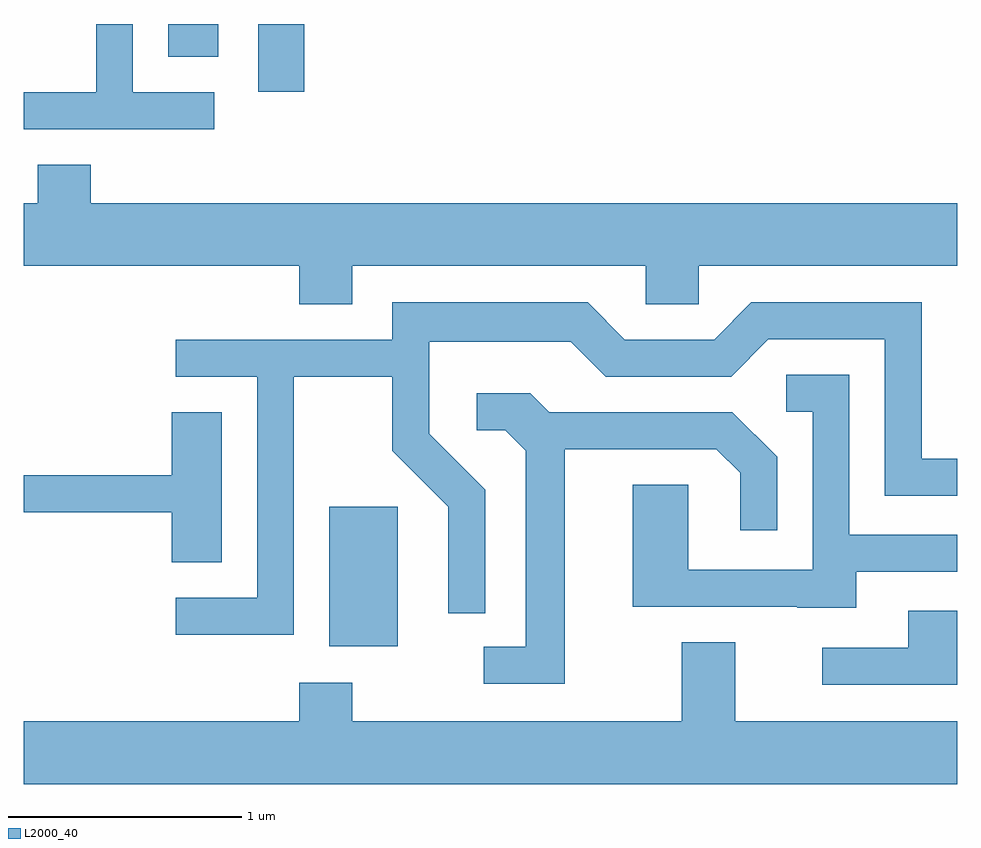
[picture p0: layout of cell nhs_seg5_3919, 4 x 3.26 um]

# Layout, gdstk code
import gdstk
lib = gdstk.Library(unit=1e-6, precision=1e-09)
def R(c, l, rs):  # rectangles x0, y0, x1, y1
    for r in rs: c.add(gdstk.rectangle(r[:2], r[2:], *l))
def P(c, l, *ps):  # polygons
    for p in ps: c.add(gdstk.Polygon(p, *l))
L2000_40 = (2000, 40)

nhs_seg5_3919 = lib.new_cell('nhs_seg5_3919')
R(nhs_seg5_3919, L2000_40, [(302.921,1437.406,303.214,1438.004), (302.616,1439.781,302.814,1440.072), (302.231,1439.931,302.444,1440.072)])
P(nhs_seg5_3919, L2000_40, [(302.428,1439.779),(302.079,1439.779),(302.079,1440.072),(301.921,1440.072),(301.921,1439.779),(301.611,1439.779),(301.611,1439.621),(302.428,1439.621)],
  [(303.019,1439.036),(304.276,1439.036),(304.276,1438.871),(304.504,1438.871),(304.504,1439.036),(305.611,1439.036),(305.611,1439.304),(301.899,1439.304),(301.899,1439.469),(301.671,1439.469),(301.671,1439.304),(301.611,1439.304),(301.611,1439.036),(302.791,1439.036),(302.791,1438.871),(303.019,1438.871)],
  [(302.769,1438.561),(303.191,1438.561),(303.191,1438.244),(303.431,1438.004),(303.431,1437.548),(303.589,1437.548),(303.589,1438.077),(303.349,1438.317),(303.349,1438.711),(303.954,1438.711),(304.104,1438.561),(304.642,1438.561),(304.802,1438.721),(305.301,1438.721),(305.301,1438.051),(305.611,1438.051),(305.611,1438.209),(305.459,1438.209),(305.459,1438.879),(304.729,1438.879),(304.569,1438.719),(304.187,1438.719),(304.027,1438.879),(303.191,1438.879),(303.191,1438.719),(302.263,1438.719),(302.263,1438.561),(302.611,1438.561),(302.611,1437.614),(302.263,1437.614),(302.263,1437.456),(302.769,1437.456)],
  [(305.179,1437.726),(305.611,1437.726),(305.611,1437.884),(305.149,1437.884),(305.149,1438.569),(304.878,1438.569),(304.878,1438.411),(304.991,1438.411),(304.991,1437.734),(304.459,1437.734),(304.459,1438.099),(304.221,1438.099),(304.221,1437.576),(304.925,1437.576),(304.925,1437.571),(305.179,1437.571)],
  [(303.929,1438.251),(304.579,1438.251),(304.681,1438.149),(304.681,1437.903),(304.839,1437.903),(304.839,1438.217),(304.647,1438.409),(303.862,1438.409),(303.782,1438.489),(303.553,1438.489),(303.553,1438.331),(303.674,1438.331),(303.761,1438.244),(303.761,1437.404),(303.583,1437.404),(303.583,1437.246),(303.929,1437.246)],
  [(302.459,1438.409),(302.246,1438.409),(302.246,1438.139),(301.611,1438.139),(301.611,1437.981),(302.246,1437.981),(302.246,1437.766),(302.459,1437.766)],
  [(305.611,1437.559),(305.401,1437.559),(305.401,1437.399),(305.033,1437.399),(305.033,1437.241),(305.611,1437.241)],
  [(305.611,1437.084),(304.659,1437.084),(304.659,1437.424),(304.431,1437.424),(304.431,1437.084),(303.019,1437.084),(303.019,1437.249),(302.791,1437.249),(302.791,1437.084),(301.611,1437.084),(301.611,1436.816),(305.611,1436.816)])

lib.write_gds('nhs_seg5_3919.gds')
